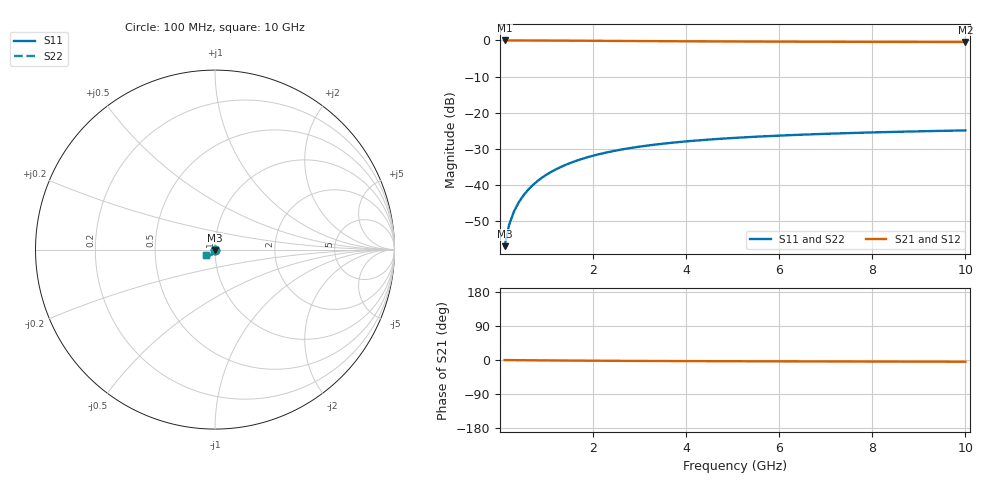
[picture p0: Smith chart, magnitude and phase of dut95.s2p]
! Touchstone file exported from HFSS 2024.1.0
!  File:  C:/UserFiles/LocalFiles/RDL_TSV_Batchsim/temp_TSV1_95_1778751904.aedt
!  Generated:  05:51:01 PM May 14, 2026
!  Design:  TSV1
!  Project:  temp_TSV1_95_1778751904
!  Setup:  Setup1
!  Solution:  Sweep
! Variables:
!  dtsv = 13.33um
!  hbump = 3um
!  htsv = 66.27um
!  lrdl = 252.1521522um
!  p = 40
!  p1 = 40.27um
!  t = 500um
!  trdl = 3um
!  wrdl = 24.89489489um
# GHz S MA R 50.000000
! Terminal data exported
! Port[1] = TSV22_T1
! Port[2] = TSV22_T2
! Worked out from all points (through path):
!   100 points, 100 MHz to 10 GHz, reference 50 ohm
!   highest |S21| = 0.00 dB at 100 MHz (marker M1); lowest = -0.4 dB at 10 GHz (marker M2)
!   lowest |S11| = -56.8 dB at 100 MHz (marker M3), VSWR 1.00, Z = 50 - j0.144 ohm
!   |S11| at or under -10 dB: start of sweep to end of sweep
!   |S22| runs from -56.8 to -24.9 dB; largest |S21 - S12| = 3.5e-15
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0.1  0.001438 -88.1  0.9999 -0.1  0.9999 -0.1  0.001438 -88.1
! Gamma 0 0 0 0
! Port Impedance 50 0 50 0
0.2  0.002877 -91.4  0.9998 -0.2  0.9998 -0.2  0.002877 -91.4
0.3  0.004317 -93.3  0.9996 -0.3  0.9996 -0.3  0.004317 -93.3
0.4  0.005749 -95.0  0.9993 -0.4  0.9993 -0.4  0.005749 -95.0
0.5  0.007168 -96.5  0.999 -0.6  0.999 -0.6  0.007168 -96.5
0.6  0.008572 -98.0  0.9986 -0.7  0.9986 -0.7  0.008572 -98.0
0.7  0.009958 -99.4  0.9982 -0.8  0.9982 -0.8  0.009958 -99.4
0.8  0.01132 -100.8  0.9977 -0.9  0.9977 -0.9  0.01132 -100.8
0.9  0.01267 -102.1  0.9971 -1.0  0.9971 -1.0  0.01267 -102.1
1.1  0.01527 -104.8  0.9959 -1.2  0.9959 -1.2  0.01527 -104.8
1.4  0.01898 -108.5  0.9937 -1.4  0.9937 -1.4  0.01898 -108.5
1.6  0.02129 -110.8  0.9922 -1.6  0.9922 -1.6  0.02129 -110.8
1.8  0.02348 -113.1  0.9906 -1.8  0.9906 -1.8  0.02348 -113.1
2.1  0.02653 -116.2  0.9881 -2.0  0.9881 -2.0  0.02653 -116.2
2.5  0.03017 -120.0  0.9848 -2.2  0.9848 -2.2  0.03017 -120.0
2.9  0.03336 -123.4  0.9816 -2.4  0.9816 -2.4  0.03336 -123.4
3.4  0.03681 -127.1  0.9779 -2.7  0.9779 -2.7  0.03681 -127.1
4.2  0.04131 -132.0  0.9725 -3.0  0.9725 -3.0  0.04131 -132.0
5.1  0.04528 -136.3  0.9674 -3.3  0.9674 -3.3  0.04528 -136.3
6.7  0.05048 -141.9  0.9604 -3.7  0.9604 -3.7  0.05048 -141.9
8.4  0.05441 -146.2  0.955 -4.1  0.955 -4.1  0.05441 -146.2
10  0.05713 -149.2  0.9513 -4.5  0.9513 -4.5  0.05713 -149.2
